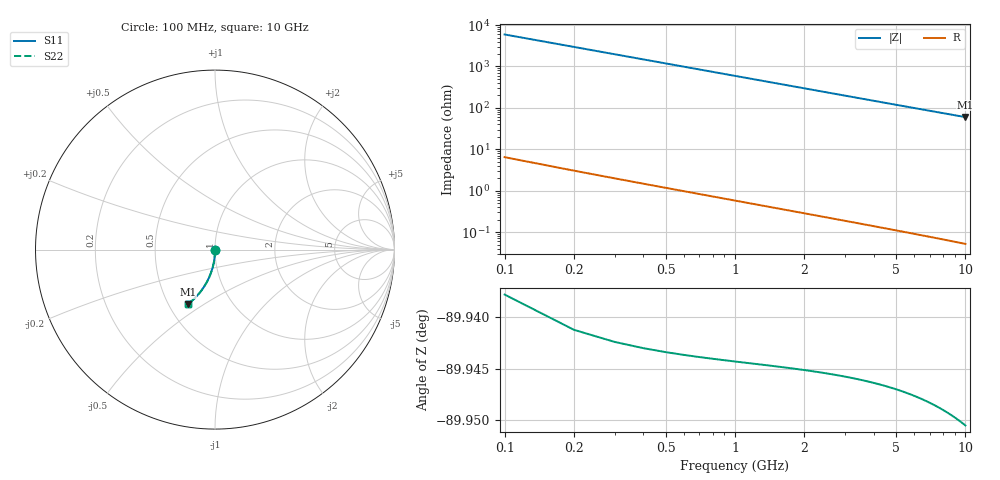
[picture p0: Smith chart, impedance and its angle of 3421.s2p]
# Hz S RI R 50.00
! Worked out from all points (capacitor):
!   100 points, 100 MHz to 10 GHz, reference 50 ohm
!   read as one part in shunt: C = 268 fF near 100 MHz
!   lowest |Z| = 59.9 ohm at 10 GHz (marker M1)
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1e8  0.000253 -0.00365  0.9997 -0.00479  0.9997 -0.00479  0.000253 -0.00365
2e8  0.000198 -0.0073  0.9996 -0.00957  0.9996 -0.00957  0.000198 -0.0073
3e8  0.000108 -0.0109  0.9995 -0.0144  0.9995 -0.0144  0.000108 -0.0109
4e8  -1.72e-05 -0.0146  0.9994 -0.0191  0.9994 -0.0191  -1.72e-05 -0.0146
5e8  -0.000177 -0.0182  0.9992 -0.0239  0.9992 -0.0239  -0.000177 -0.0182
6e8  -0.000373 -0.0219  0.999 -0.0287  0.999 -0.0287  -0.000373 -0.0219
7e8  -0.000603 -0.0255  0.9988 -0.0335  0.9988 -0.0335  -0.000603 -0.0255
8e8  -0.000867 -0.0292  0.9985 -0.0383  0.9985 -0.0383  -0.000867 -0.0292
9e8  -0.00117 -0.0328  0.9982 -0.043  0.9982 -0.043  -0.00117 -0.0328
1.1e9  -0.00187 -0.04  0.9975 -0.0526  0.9975 -0.0526  -0.00187 -0.04
1.4e9  -0.00319 -0.0509  0.9961 -0.0668  0.9961 -0.0668  -0.00319 -0.0509
1.8e9  -0.00542 -0.0653  0.9938 -0.0858  0.9938 -0.0858  -0.00542 -0.0653
2.1e9  -0.00745 -0.076  0.9917 -0.0999  0.9917 -0.0999  -0.00745 -0.076
2.5e9  -0.0106 -0.0902  0.9884 -0.1186  0.9884 -0.1186  -0.0106 -0.0902
2.9e9  -0.0143 -0.1042  0.9845 -0.1372  0.9845 -0.1372  -0.0143 -0.1042
3.4e9  -0.0197 -0.1214  0.979 -0.1602  0.979 -0.1602  -0.0197 -0.1214
4.2e9  -0.0299 -0.1483  0.9683 -0.1962  0.9683 -0.1962  -0.0299 -0.1483
5.1e9  -0.0437 -0.1773  0.954 -0.2355  0.954 -0.2355  -0.0437 -0.1773
5.9e9  -0.0577 -0.2017  0.9394 -0.2692  0.9394 -0.2692  -0.0577 -0.2017
6.7e9  -0.0734 -0.2249  0.923 -0.3015  0.923 -0.3015  -0.0734 -0.2249
8.4e9  -0.1113 -0.2691  0.8834 -0.3654  0.8834 -0.3654  -0.1113 -0.2691
1e10  -0.1514 -0.3039  0.8413 -0.4189  0.8413 -0.4189  -0.1514 -0.3039
